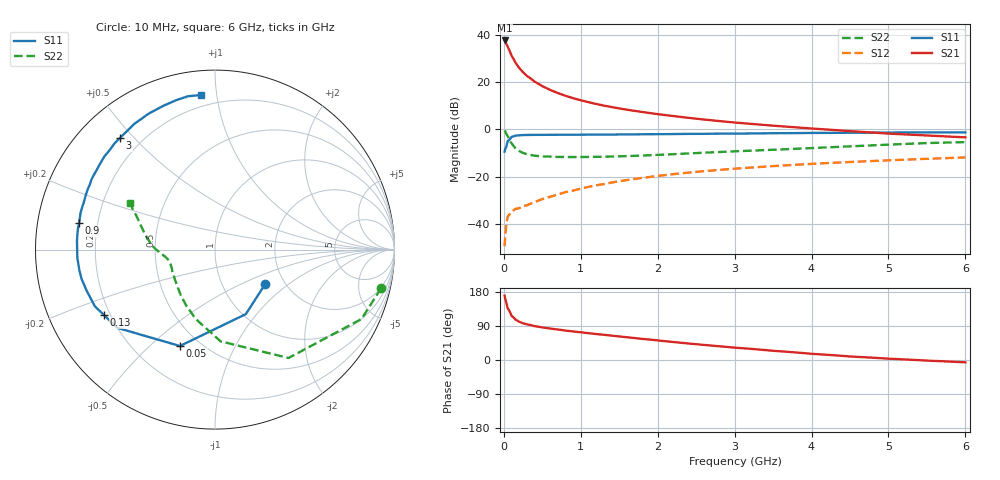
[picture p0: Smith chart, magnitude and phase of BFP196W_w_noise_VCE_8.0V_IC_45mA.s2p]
! Infineon Technologies  Discrete & RF Semiconductors
! BFP196W
! VCE =  8.0 V,  IC =  45 mA
! Common Emitter S-Parameters:  Jan 2017
# GHz  S  MA  R  50
!  f  S11  S21  S12  S22
! GHz  MAG  ANG  MAG  ANG  MAG  ANG  MAG  ANG
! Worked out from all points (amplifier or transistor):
!   77 points, 10 MHz to 6 GHz, reference 50 ohm
!   highest |S21| = 37.6 dB at 10 MHz (marker M1)
!   |S21| within 3 dB of that: start of sweep to 55.69 MHz
!   unconditionally stable (mu >= 1): 753.3 MHz to 3.275 GHz
!   at 130 MHz: K = 0.38, MSG = 31.8 dB, |S12| = -34.1 dB
!   at 2.2 GHz: K = 1.04, MAG = 11.1 dB, |S12| = -18.9 dB
!   at 6 GHz: K = 0.93, MSG = 4.2 dB, |S12| = -11.8 dB
!   lowest NFmin = 1.31 dB at 450 MHz
!   S11 on the Smith chart (normalised r, x): 10 MHz: 1.60, -0.69; 50 MHz: 0.39, -0.63; 130 MHz: 0.18, -0.26; 900 MHz: 0.13, +0.10; 3 GHz: 0.12, +0.46; 6 GHz: 0.13, +0.90
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0.01  0.3392 -34.2  76.13 169.8  0.0034 80.9  0.9498 -13.1
0.02  0.3983 -64.4  72.56 159.2  0.0063 72.7  0.9035 -25.3
0.05  0.5716 -110.0  56.42 136.3  0.0144 53.7  0.7296 -55.9
0.1  0.697 -141.3  36.48 116.4  0.0179 43.2  0.5119 -86.5
0.13  0.7182 -149.5  30.09 111.5  0.0197 41.9  0.44 -96.7
0.15  0.7402 -154.7  26 106.9  0.0209 41.1  0.402 -105.3
0.2  0.7508 -162.2  19.97 101.0  0.0216 41.5  0.3501 -117.4
0.25  0.7608 -167.5  16.16 96.9  0.0239 42.4  0.3179 -126.8
0.3  0.7643 -171.2  13.54 94.0  0.0249 44.9  0.2986 -133.4
0.4  0.7684 -176.6  10.26 89.4  0.0291 49.4  0.2793 -142.9
0.5  0.7682 179.6  8.221 86.0  0.0336 53.3  0.2694 -149.2
0.6  0.7704 176.5  6.879 83.0  0.0376 55.0  0.2662 -153.6
0.7  0.7714 173.9  5.892 80.5  0.042 57.4  0.2619 -156.9
0.9  0.7717 168.9  4.579 75.4  0.0509 59.3  0.261 -161.2
1.1  0.7766 164.5  3.769 70.9  0.0611 61.3  0.2622 -164.2
1.5  0.7822 156.6  2.779 62.2  0.0803 60.4  0.2703 -169.1
2.1  0.7959 145.2  2.012 49.6  0.1085 57.2  0.2945 -174.8
3  0.8169 130.3  1.4 32.6  0.1479 50.3  0.3446 177.3
3.1  0.8188 128.8  1.358 31.1  0.1518 49.5  0.3498 176.3
4.1  0.8439 114.6  1.021 15.1  0.1905 41.4  0.41 165.8
5.1  0.8611 103.7  0.802 2.6  0.2255 33.5  0.4845 156.0
6  0.8649 95.3  0.68 -6.2  0.2561 26.7  0.5392 150.9
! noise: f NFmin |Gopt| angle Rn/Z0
0.45  1.31  0.5  -177  0.05
0.9  1.44  0.54  -172  0.07
1.9  2.26  0.69  -150  0.15
2.4  2.66  0.73  -145  0.25
